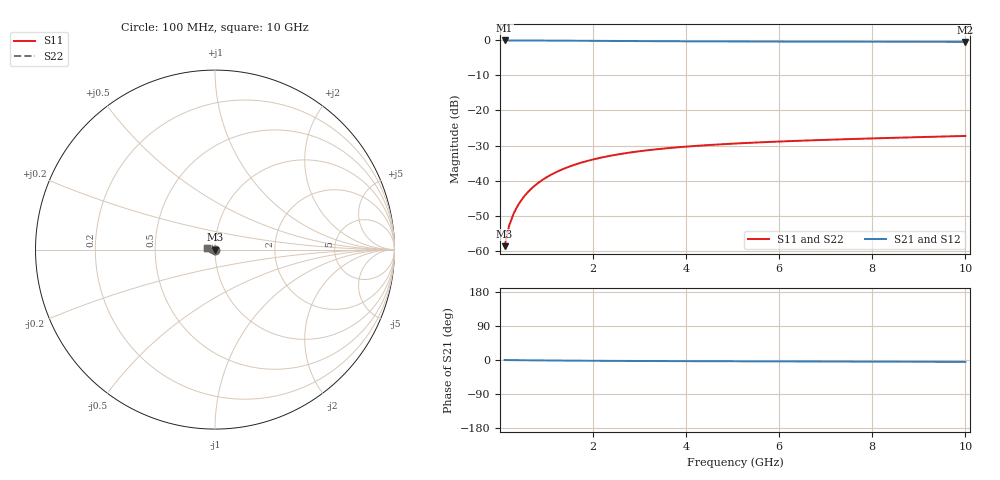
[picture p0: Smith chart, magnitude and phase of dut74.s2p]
! Touchstone file exported from HFSS 2024.1.0
!  File:  C:/UserFiles/LocalFiles/RDL_TSV_Batchsim/temp_TSV1_74_1779374412.aedt
!  Generated:  10:45:46 PM May 21, 2026
!  Design:  TSV1
!  Project:  temp_TSV1_74_1779374412
!  Setup:  Setup1
!  Solution:  Sweep
! Variables:
!  dtsv = 10.57um
!  hbump = 3um
!  htsv = 75.47um
!  lrdl = 252.1521522um
!  p = 40
!  p1 = 58.56um
!  t = 500um
!  trdl = 3um
!  wrdl = 24.89489489um
# GHz S MA R 50.000000
! Terminal data exported
! Port[1] = TSV22_T1
! Port[2] = TSV22_T2
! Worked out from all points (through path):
!   100 points, 100 MHz to 10 GHz, reference 50 ohm
!   highest |S21| = 0.00 dB at 100 MHz (marker M1); lowest = -0.4 dB at 10 GHz (marker M2)
!   lowest |S11| = -58.7 dB at 100 MHz (marker M3), VSWR 1.00, Z = 50 - j0.115 ohm
!   |S11| at or under -10 dB: start of sweep to end of sweep
!   |S22| runs from -58.7 to -27.3 dB; largest |S21 - S12| = 3e-15
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0.1  0.001155 -85.9  0.9998 -0.1  0.9998 -0.1  0.001155 -85.9
! Gamma 0 0 0 0
! Port Impedance 50 0 50 0
0.2  0.002301 -90.9  0.9997 -0.2  0.9997 -0.2  0.002301 -90.9
0.3  0.003446 -94.0  0.9995 -0.4  0.9995 -0.4  0.003446 -94.0
0.4  0.004586 -96.5  0.9992 -0.5  0.9992 -0.5  0.004586 -96.5
0.5  0.005716 -98.9  0.9988 -0.6  0.9988 -0.6  0.005716 -98.9
0.6  0.006833 -101.1  0.9983 -0.7  0.9983 -0.7  0.006833 -101.1
0.7  0.007933 -103.3  0.9978 -0.8  0.9978 -0.8  0.007933 -103.3
0.8  0.009014 -105.5  0.9972 -1.0  0.9972 -1.0  0.009014 -105.5
0.9  0.01007 -107.5  0.9966 -1.1  0.9966 -1.1  0.01007 -107.5
1.1  0.01212 -111.6  0.9952 -1.3  0.9952 -1.3  0.01212 -111.6
1.4  0.01499 -117.3  0.9927 -1.6  0.9927 -1.6  0.01499 -117.3
1.6  0.01677 -121.0  0.991 -1.7  0.991 -1.7  0.01677 -121.0
1.8  0.01843 -124.5  0.9892 -1.9  0.9892 -1.9  0.01843 -124.5
2.1  0.0207 -129.4  0.9865 -2.1  0.9865 -2.1  0.0207 -129.4
2.5  0.02337 -135.5  0.983 -2.4  0.983 -2.4  0.02337 -135.5
2.9  0.02566 -141.1  0.9797 -2.6  0.9797 -2.6  0.02566 -141.1
3.4  0.02808 -147.3  0.976 -2.8  0.976 -2.8  0.02808 -147.3
4.2  0.03117 -156.0  0.971 -3.1  0.971 -3.1  0.03117 -156.0
5.1  0.03386 -164.3  0.9667 -3.4  0.9667 -3.4  0.03386 -164.3
6.7  0.0375 -176.3  0.9614 -3.9  0.9614 -3.9  0.0375 -176.3
8.4  0.04062 173.5  0.9578 -4.5  0.9578 -4.5  0.04062 173.5
10  0.0433 165.5  0.9555 -5.0  0.9555 -5.0  0.0433 165.5
